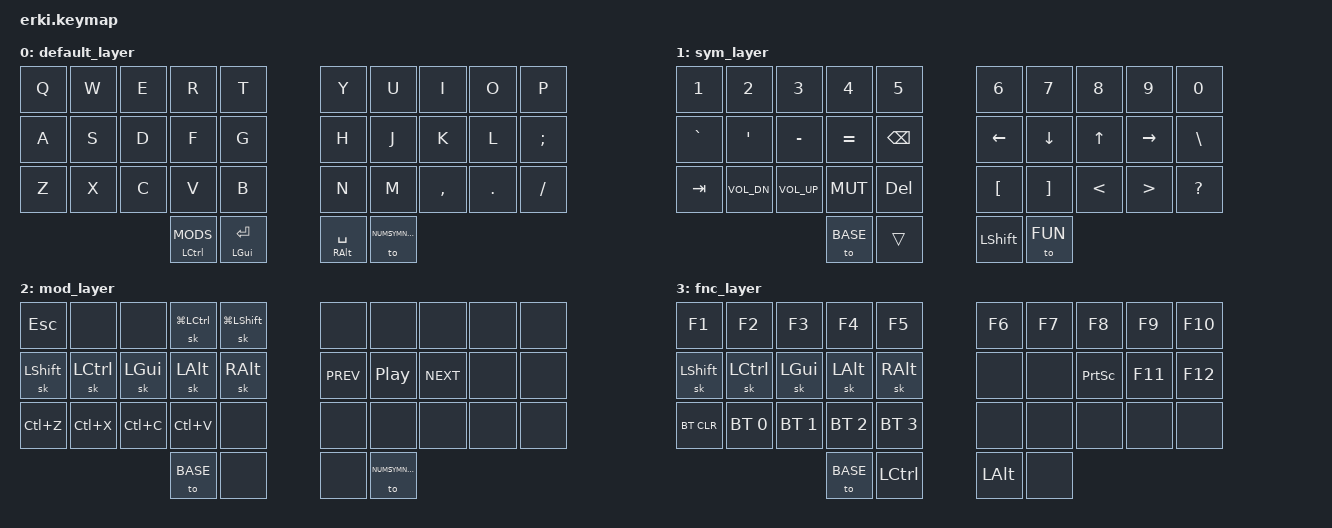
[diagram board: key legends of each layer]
/*
 * Copyright (c) 2020 The ZMK Contributors
 *
 * SPDX-License-Identifier: MIT
 */

#include <behaviors.dtsi>
#include <dt-bindings/zmk/keys.h>
#include <dt-bindings/zmk/bt.h>

// Layer definitions
    #define BASE 0
    #define NUMSYMNAV 1
    #define MODS 2
    #define FUN 3
// -----------------

/ {
  behaviors {
      sticky_ht: sticky_ht {
        compatible = "zmk,behavior-hold-tap";
        label = "STICKY_HOLD_TAP";
        #binding-cells = <2>;
        tapping-term-ms = <200>;
        bindings = <&kp>, <&sl>;
      };
  };

    /*combos {*/
        /*compatible = "zmk,combos";*/
    /*combo_sym2 {*/
      /*timeout-ms = <200>;*/
      /*key-positions = <31 33>;*/
      /*bindings = <&mo SYM2>;*/
    /*};*/
    /*// both left thumb keys*/
    /*combo_settings {*/
      /*timeout-ms = <300>;*/
      /*key-positions = <30 31>;*/
      /*bindings = <&mo SETTINGS>;*/
    /*};*/
    /*};*/

    keymap {
  compatible = "zmk,keymap";

    // Base alpha layer
    default_layer {

  bindings = <
  &kp Q      &kp W       &kp E       &kp R       &kp T           &kp Y       &kp U       &kp I     &kp O       &kp P
  &kp A      &kp S       &kp D       &kp F       &kp G           &kp H       &kp J       &kp K     &kp L       &kp SEMI
  &kp Z      &kp X       &kp C       &kp V       &kp B           &kp N       &kp M       &kp COMMA &kp DOT     &kp FSLH
               &sticky_ht LCTRL MODS   &mt LGUI ENTER                          &mt RALT SPACE        &to NUMSYMNAV
  >;
  };

    // Numbers, symbols and navigation
    sym_layer {

  bindings = <
  &kp N1     &kp N2       &kp N3       &kp N4      &kp N5          &kp N6      &kp N7      &kp N8   &kp N9      &kp N0
  &kp GRAVE  &kp SQT      &kp MINUS    &kp EQUAL   &kp BSPC        &kp LEFT    &kp DOWN    &kp UP   &kp RIGHT   &kp BSLH
  &kp TAB    &kp C_VOL_DN &kp C_VOL_UP &kp C_MUT   &kp DEL        &kp LBKT    &kp RBKT    &kp LT   &kp GT      &kp QMARK
          &to BASE                &trans                                    &kp LSHIFT           &to FUN
  >;
  };

    // Main modifiers and media controls
    mod_layer {

  bindings = <
  &kp ESC     &none       &none      &sk LG(LCTRL) &sk LG(LSHIFT)       &none      &none    &none      &none    &none
  &sk LSHIFT  &sk LCTRL   &sk LGUI   &sk LALT      &sk RALT             &kp C_PREV &kp C_PP &kp C_NEXT &none    &none
  &kp LC(Z)   &kp LC(X)   &kp LC(C)  &kp LC(V)     &none                &none      &none    &none      &none    &none
           &to BASE               &none                                         &none               &to NUMSYMNAV
  >;
  };

    // Function keys with modifiers and blutetooth
    fnc_layer {
  bindings = <
  &kp F1     &kp F2       &kp F3          &kp F4          &kp F5               &kp F6  &kp F7  &kp F8          &kp F9  &kp F10
  &sk LSHIFT &sk LCTRL    &sk LGUI        &sk LALT        &sk RALT             &none   &none   &kp PRINTSCREEN &kp F11 &kp F12
  &bt BT_CLR &bt BT_SEL 0 &bt BT_SEL 1    &bt BT_SEL 2    &bt BT_SEL 3     &none   &none   &none           &none   &none
               &to BASE                     &kp LCTRL                                    &kp LALT                &none
  >;
  };
 };
};
